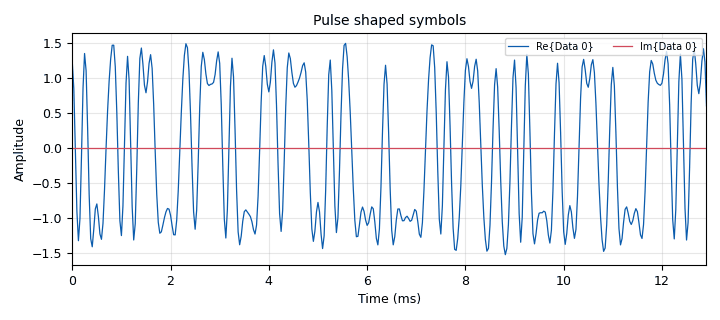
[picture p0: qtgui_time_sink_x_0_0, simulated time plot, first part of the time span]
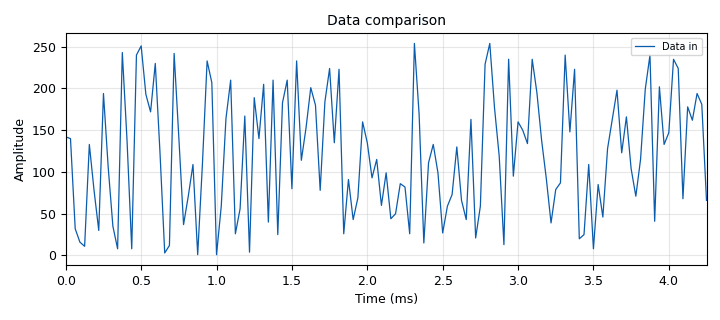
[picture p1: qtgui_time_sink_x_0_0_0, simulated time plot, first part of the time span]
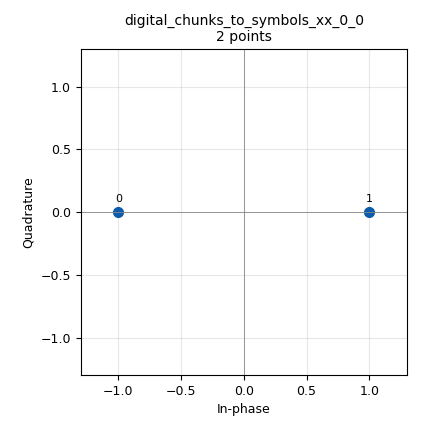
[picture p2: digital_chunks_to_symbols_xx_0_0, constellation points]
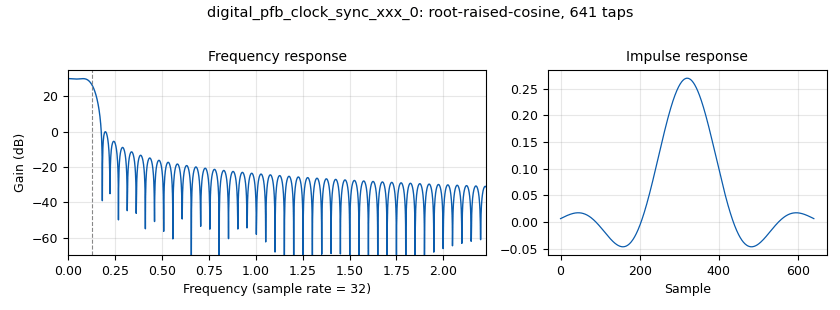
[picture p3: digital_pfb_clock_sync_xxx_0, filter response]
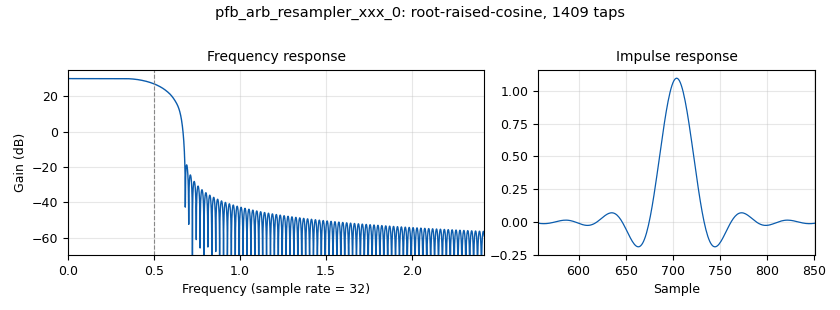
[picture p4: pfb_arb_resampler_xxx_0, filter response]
<?xml version='1.0' encoding='utf-8'?>
<?grc format='1' created='3.7.11'?>
<flow_graph>
<block>
<key>options</key>
<param><key>id</key><value>test_pulseshape</value></param>
<param><key>generate_options</key><value>qt_gui</value></param>
</block>
<block>
<key>variable</key>
<param><key>id</key><value>constel</value></param>
<param><key>value</key><value>digital.constellation_bpsk()</value></param>
</block>
<block>
<key>variable</key>
<param><key>id</key><value>eb</value></param>
<param><key>value</key><value>0.35</value></param>
</block>
<block>
<key>variable</key>
<param><key>id</key><value>nfilts</value></param>
<param><key>value</key><value>32</value></param>
</block>
<block>
<key>variable</key>
<param><key>id</key><value>rrc_taps</value></param>
<param><key>value</key><value>firdes.root_raised_cosine(nfilts, nfilts, 1.0, eb, 11*sps*nfilts)</value></param>
</block>
<block>
<key>variable</key>
<param><key>id</key><value>rrc_taps_clocksync</value></param>
<param><key>value</key><value>firdes.root_raised_cosine(nfilts, nfilts, 1.0/float(sps), eb, 5*sps*nfilts)</value></param>
</block>
<block>
<key>variable</key>
<param><key>id</key><value>samp_rate</value></param>
<param><key>value</key><value>32000</value></param>
</block>
<block>
<key>variable</key>
<param><key>id</key><value>sps</value></param>
<param><key>value</key><value>4</value></param>
</block>
<block>
<key>analog_random_source_x</key>
<param><key>id</key><value>analog_random_source_x_0_0</value></param>
<param><key>max</key><value>256</value></param>
<param><key>min</key><value>0</value></param>
<param><key>num_samps</key><value>10000</value></param>
<param><key>type</key><value>byte</value></param>
<param><key>repeat</key><value>True</value></param>
</block>
<block>
<key>blocks_delay</key>
<param><key>id</key><value>blocks_delay_0</value></param>
<param><key>delay</key><value>10</value></param>
<param><key>_enabled</key><value>0</value></param>
<param><key>type</key><value>float</value></param>
</block>
<block>
<key>blocks_null_sink</key>
<param><key>id</key><value>blocks_null_sink_0</value></param>
<param><key>bus_conns</key><value>[[0,],]</value></param>
<param><key>_enabled</key><value>0</value></param>
<param><key>type</key><value>complex</value></param>
</block>
<block>
<key>blocks_repack_bits_bb</key>
<param><key>id</key><value>blocks_repack_bits_bb_0_0</value></param>
<param><key>k</key><value>constel.bits_per_symbol()</value></param>
<param><key>l</key><value>8</value></param>
<param><key>endianness</key><value>gr.GR_LSB_FIRST</value></param>
</block>
<block>
<key>blocks_repack_bits_bb</key>
<param><key>id</key><value>blocks_repack_bits_bb_1</value></param>
<param><key>k</key><value>8</value></param>
<param><key>l</key><value>constel.bits_per_symbol()</value></param>
<param><key>endianness</key><value>gr.GR_LSB_FIRST</value></param>
</block>
<block>
<key>blocks_throttle</key>
<param><key>id</key><value>blocks_throttle_1</value></param>
<param><key>samples_per_second</key><value>samp_rate</value></param>
<param><key>type</key><value>byte</value></param>
</block>
<block>
<key>blocks_uchar_to_float</key>
<param><key>id</key><value>blocks_uchar_to_float_0</value></param>
<param><key>_enabled</key><value>0</value></param>
</block>
<block>
<key>blocks_uchar_to_float</key>
<param><key>id</key><value>blocks_uchar_to_float_1</value></param>
</block>
<block>
<key>digital_chunks_to_symbols_xx</key>
<param><key>id</key><value>digital_chunks_to_symbols_xx_0_0</value></param>
<param><key>dimension</key><value>1</value></param>
<param><key>in_type</key><value>byte</value></param>
<param><key>out_type</key><value>complex</value></param>
<param><key>symbol_table</key><value>constel.points()</value></param>
</block>
<block>
<key>digital_constellation_decoder_cb</key>
<param><key>id</key><value>digital_constellation_decoder_cb_0_0</value></param>
<param><key>constellation</key><value>constel.base()</value></param>
</block>
<block>
<key>digital_pfb_clock_sync_xxx</key>
<param><key>id</key><value>digital_pfb_clock_sync_xxx_0</value></param>
<param><key>filter_size</key><value>32</value></param>
<param><key>init_phase</key><value>0</value></param>
<param><key>loop_bw</key><value>2*3.14/100</value></param>
<param><key>max_dev</key><value>0.5</value></param>
<param><key>osps</key><value>1</value></param>
<param><key>sps</key><value>sps</value></param>
<param><key>taps</key><value>rrc_taps_clocksync</value></param>
<param><key>type</key><value>ccf</value></param>
</block>
<block>
<key>pfb_arb_resampler_xxx</key>
<param><key>id</key><value>pfb_arb_resampler_xxx_0</value></param>
<param><key>nfilts</key><value>32</value></param>
<param><key>rrate</key><value>sps</value></param>
<param><key>atten</key><value>100</value></param>
<param><key>taps</key><value>rrc_taps</value></param>
<param><key>type</key><value>ccf</value></param>
</block>
<block>
<key>qtgui_time_sink_x</key>
<param><key>id</key><value>qtgui_time_sink_x_0_0</value></param>
<param><key>autoscale</key><value>True</value></param>
<param><key>entags</key><value>False</value></param>
<param><key>gui_hint</key><value>4,0,1,4</value></param>
<param><key>color1</key><value>"blue"</value></param>
<param><key>label1</key><value></value></param>
<param><key>color2</key><value>"red"</value></param>
<param><key>label2</key><value></value></param>
<param><key>name</key><value>"Pulse shaped symbols"</value></param>
<param><key>size</key><value>512*4</value></param>
<param><key>srate</key><value>samp_rate</value></param>
<param><key>type</key><value>complex</value></param>
<param><key>ymax</key><value>1.5</value></param>
<param><key>ymin</key><value>-1.5</value></param>
</block>
<block>
<key>qtgui_time_sink_x</key>
<param><key>id</key><value>qtgui_time_sink_x_0_0_0</value></param>
<param><key>autoscale</key><value>True</value></param>
<param><key>entags</key><value>False</value></param>
<param><key>gui_hint</key><value>2,0,1,4</value></param>
<param><key>color1</key><value>"blue"</value></param>
<param><key>label1</key><value>"Data in"</value></param>
<param><key>name</key><value>"Data comparison"</value></param>
<param><key>size</key><value>512</value></param>
<param><key>srate</key><value>samp_rate</value></param>
<param><key>type</key><value>float</value></param>
<param><key>ymax</key><value>1.5</value></param>
<param><key>ymin</key><value>-1.5</value></param>
</block>
<block>
<key>virtual_sink</key>
<param><key>id</key><value>virtual_sink_1</value></param>
<param><key>stream_id</key><value>data_out</value></param>
</block>
<block>
<key>virtual_sink</key>
<param><key>id</key><value>virtual_sink_1_0</value></param>
<param><key>stream_id</key><value>data_in</value></param>
</block>
<block>
<key>virtual_sink</key>
<param><key>id</key><value>virtual_sink_2_0_0_0_0_0</value></param>
<param><key>stream_id</key><value>src_data</value></param>
</block>
<block>
<key>virtual_source</key>
<param><key>id</key><value>virtual_source_0</value></param>
<param><key>stream_id</key><value>data_in</value></param>
</block>
<block>
<key>virtual_source</key>
<param><key>id</key><value>virtual_source_0_0</value></param>
<param><key>_enabled</key><value>0</value></param>
<param><key>stream_id</key><value>src_data</value></param>
</block>
<block>
<key>virtual_source</key>
<param><key>id</key><value>virtual_source_1</value></param>
<param><key>stream_id</key><value>data_out</value></param>
</block>
<connection><source_block_id>analog_random_source_x_0_0</source_block_id><sink_block_id>blocks_throttle_1</sink_block_id><source_key>0</source_key><sink_key>0</sink_key></connection>
<connection><source_block_id>blocks_repack_bits_bb_0_0</source_block_id><sink_block_id>blocks_uchar_to_float_1</sink_block_id><source_key>0</source_key><sink_key>0</sink_key></connection>
<connection><source_block_id>blocks_repack_bits_bb_1</source_block_id><sink_block_id>digital_chunks_to_symbols_xx_0_0</sink_block_id><source_key>0</source_key><sink_key>0</sink_key></connection>
<connection><source_block_id>blocks_throttle_1</source_block_id><sink_block_id>blocks_repack_bits_bb_1</sink_block_id><source_key>0</source_key><sink_key>0</sink_key></connection>
<connection><source_block_id>blocks_throttle_1</source_block_id><sink_block_id>virtual_sink_2_0_0_0_0_0</sink_block_id><source_key>0</source_key><sink_key>0</sink_key></connection>
<connection><source_block_id>blocks_uchar_to_float_0</source_block_id><sink_block_id>blocks_delay_0</sink_block_id><source_key>0</source_key><sink_key>0</sink_key></connection>
<connection><source_block_id>blocks_uchar_to_float_1</source_block_id><sink_block_id>qtgui_time_sink_x_0_0_0</sink_block_id><source_key>0</source_key><sink_key>0</sink_key></connection>
<connection><source_block_id>digital_chunks_to_symbols_xx_0_0</source_block_id><sink_block_id>virtual_sink_1_0</sink_block_id><source_key>0</source_key><sink_key>0</sink_key></connection>
<connection><source_block_id>digital_constellation_decoder_cb_0_0</source_block_id><sink_block_id>blocks_repack_bits_bb_0_0</sink_block_id><source_key>0</source_key><sink_key>0</sink_key></connection>
<connection><source_block_id>digital_pfb_clock_sync_xxx_0</source_block_id><sink_block_id>blocks_null_sink_0</sink_block_id><source_key>0</source_key><sink_key>0</sink_key></connection>
<connection><source_block_id>digital_pfb_clock_sync_xxx_0</source_block_id><sink_block_id>virtual_sink_1</sink_block_id><source_key>0</source_key><sink_key>0</sink_key></connection>
<connection><source_block_id>pfb_arb_resampler_xxx_0</source_block_id><sink_block_id>digital_pfb_clock_sync_xxx_0</sink_block_id><source_key>0</source_key><sink_key>0</sink_key></connection>
<connection><source_block_id>pfb_arb_resampler_xxx_0</source_block_id><sink_block_id>qtgui_time_sink_x_0_0</sink_block_id><source_key>0</source_key><sink_key>0</sink_key></connection>
<connection><source_block_id>virtual_source_0</source_block_id><sink_block_id>pfb_arb_resampler_xxx_0</sink_block_id><source_key>0</source_key><sink_key>0</sink_key></connection>
<connection><source_block_id>virtual_source_0_0</source_block_id><sink_block_id>blocks_uchar_to_float_0</sink_block_id><source_key>0</source_key><sink_key>0</sink_key></connection>
<connection><source_block_id>virtual_source_1</source_block_id><sink_block_id>digital_constellation_decoder_cb_0_0</sink_block_id><source_key>0</source_key><sink_key>0</sink_key></connection>
</flow_graph>
